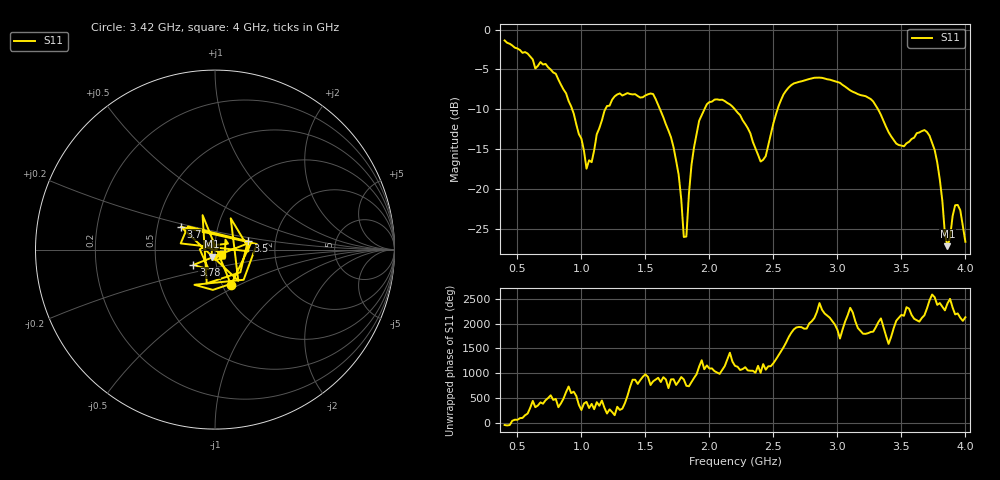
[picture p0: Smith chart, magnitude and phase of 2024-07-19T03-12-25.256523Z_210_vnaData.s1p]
!Created with skrf (http://scikit-rf.org).
# Hz S RI R 50.0
!freq ReS11 ImS11
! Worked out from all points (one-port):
!   181 points, 400 MHz to 4 GHz, reference 50 ohm
!   lowest |S11| = -27.1 dB at 3.86 GHz (marker M1), VSWR 1.09, Z = 48 - j3.83 ohm
!   |S11| at or under -10 dB: 1.615 GHz to 1.961 GHz (345.8 MHz wide, 19.3 % of centre); 2.2 GHz to 2.532 GHz (331.7 MHz wide, 14 % of centre); 3.319 GHz to end of sweep (the widest 3 of 4)
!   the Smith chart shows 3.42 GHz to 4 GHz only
!   S11 on the Smith chart (normalised r, x): 3.42 GHz: 1.10, -0.45; 3.5 GHz: 1.44, +0.14; 3.7 GHz: 0.66, +0.18; 3.78 GHz: 0.77, -0.14; 4 GHz: 1.08, -0.05
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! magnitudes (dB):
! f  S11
! 400 MHz  -1.4
! 860 MHz  -7.5
! 1.04 GHz  -17.4
! 1.18 GHz  -10.2
! 1.3 GHz  -8.0
! 1.56 GHz  -8.1
! 1.7 GHz  -13.5
! 1.76 GHz  -18.2
! 1.8 GHz  -25.9
! 1.82 GHz  -25.9
! 1.86 GHz  -16.9
! 1.92 GHz  -11.4
! 2.04 GHz  -8.8
! 2.2 GHz  -10.0
! 2.4 GHz  -16.5
! 2.56 GHz  -8.8
! 2.66 GHz  -6.7
! 3.1 GHz  -7.6
! 3.28 GHz  -9.0
! 3.42 GHz  -13.4
! 3.5 GHz  -14.5
! 3.56 GHz  -14.0
! 3.7 GHz  -12.8
! 3.78 GHz  -16.6
! 3.86 GHz  -27.1
! 3.92 GHz  -22.0
! 3.96 GHz  -22.6
! 4 GHz  -26.5
